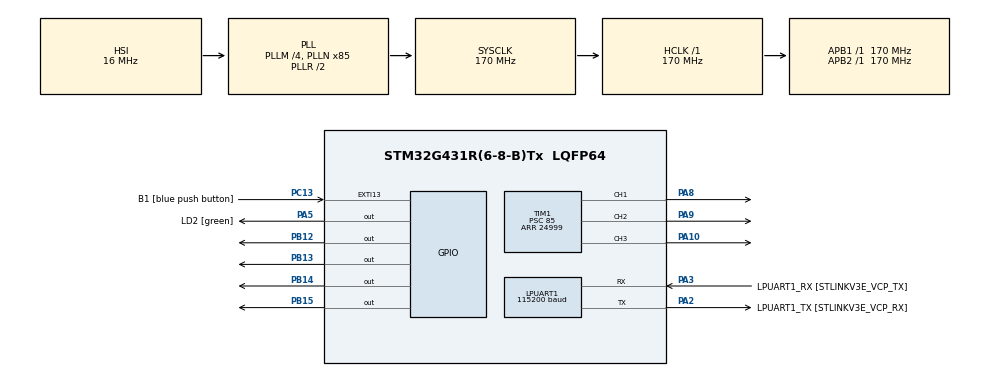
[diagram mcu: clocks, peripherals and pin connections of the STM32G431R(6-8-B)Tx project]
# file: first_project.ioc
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LPUART1.BaudRate=115200
LPUART1.WordLength=UART_WORDLENGTH_8B
Mcu.Family=STM32G4
Mcu.Name=STM32G431R(6-8-B)Tx
Mcu.Package=LQFP64
NVIC.PriorityGroup=NVIC_PRIORITYGROUP_4
PA10.Signal=S_TIM1_CH3
PA13.GPIO_Label=T_SWDIO
PA13.Mode=Serial_Wire
PA13.Signal=SYS_JTMS-SWDIO
PA14.GPIO_Label=T_SWCLK
PA14.Mode=Serial_Wire
PA14.Signal=SYS_JTCK-SWCLK
PA2.GPIO_Label=LPUART1_TX [STLINKV3E_VCP_RX]
PA2.Mode=Asynchronous
PA2.Signal=LPUART1_TX
PA3.GPIO_Label=LPUART1_RX [STLINKV3E_VCP_TX]
PA3.Mode=Asynchronous
PA3.Signal=LPUART1_RX
PA5.GPIO_Label=LD2 [green]
PA5.Signal=GPIO_Output
PA8.Signal=S_TIM1_CH1
PA9.Signal=S_TIM1_CH2
PB12.Signal=GPIO_Output
PB13.Signal=GPIO_Output
PB14.Signal=GPIO_Output
PB15.Signal=GPIO_Output
PB3.GPIO_Label=T_SWO
PB3.Signal=SYS_JTDO-SWO
PC13.GPIO_Label=B1 [blue push button]
PC13.Signal=GPXTI13
PC14-OSC32_IN.Mode=LSE-External-Oscillator
PC14-OSC32_IN.Signal=RCC_OSC32_IN
PC15-OSC32_OUT.Mode=LSE-External-Oscillator
PC15-OSC32_OUT.Signal=RCC_OSC32_OUT
PF0-OSC_IN.Mode=HSE-External-Oscillator
PF0-OSC_IN.Signal=RCC_OSC_IN
PF1-OSC_OUT.Mode=HSE-External-Oscillator
PF1-OSC_OUT.Signal=RCC_OSC_OUT
ProjectManager.HeapSize=0x200
ProjectManager.StackSize=0x400
ProjectManager.TargetToolchain=STM32CubeIDE
RCC.ADC12Freq_Value=170000000
RCC.AHBFreq_Value=170000000
RCC.APB1Freq_Value=170000000
RCC.APB1TimFreq_Value=170000000
RCC.APB2Freq_Value=170000000
RCC.APB2TimFreq_Value=170000000
RCC.CortexFreq_Value=170000000
RCC.EXTERNAL_CLOCK_VALUE=12288000
RCC.HCLKFreq_Value=170000000
RCC.HSE_VALUE=24000000
RCC.HSI48_VALUE=48000000
RCC.HSI_VALUE=16000000
RCC.PLLM=RCC_PLLM_DIV4
RCC.PLLN=85
RCC.RTCClockSelection=RCC_RTCCLKSOURCE_LSE
RCC.SYSCLKFreq_VALUE=170000000
RCC.SYSCLKSource=RCC_SYSCLKSOURCE_PLLCLK
RCC.USBFreq_Value=170000000
RCC.VCOOutputFreq_Value=340000000
SH.S_TIM1_CH1.0=TIM1_CH1,PWM Generation1 CH1
SH.S_TIM1_CH2.0=TIM1_CH2,PWM Generation2 CH2
SH.S_TIM1_CH3.0=TIM1_CH3,PWM Generation3 CH3
TIM1.Channel-PWM\ Generation1\ CH1=TIM_CHANNEL_1
TIM1.Channel-PWM\ Generation2\ CH2=TIM_CHANNEL_2
TIM1.Channel-PWM\ Generation3\ CH3=TIM_CHANNEL_3
TIM1.PeriodNoDither=24999
TIM1.Prescaler=85
VP_SYS_VS_DBSignals.Mode=DisableDeadBatterySignals
VP_TIM1_VS_ClockSourceINT.Mode=Internal
board=NUCLEO-G431RB

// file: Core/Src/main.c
/* USER CODE BEGIN Header */
/**
 ******************************************************************************
 * @file           : main.c
 * @brief          : Main program body
 ******************************************************************************
 * @attention
 *
 * Copyright (c) 2023 STMicroelectronics.
 * All rights reserved.
 *
 * This software is licensed under terms that can be found in the LICENSE file
 * in the root directory of this software component.
 * If no LICENSE file comes with this software, it is provided AS-IS.
 *
 ******************************************************************************
 */
/* USER CODE END Header */
#include "main.h"
#include "usart.h"
#include "tim.h"
#include "gpio.h"

/* USER CODE BEGIN Includes */
#include "stm32g4xx_hal.h"
#include "math.h"

/* USER CODE END Includes */

/* USER CODE BEGIN PM */
#define DESIRED_FREQ 10.0   // Fréquence de rotation souhaitée du moteur en Hz
#define SAMPLE_RATE 100000   // Fréquence d'échantillonnage
/* USER CODE END PM */

/* USER CODE BEGIN PV */
float phase = 0.0;
float phase_increment = 2 * M_PI * DESIRED_FREQ / SAMPLE_RATE;
/* USER CODE END PV */

void SystemClock_Config(void);

int main(void)
{

	/* MCU Configuration--------------------------------------------------------*/

	/* Reset of all peripherals, Initializes the Flash interface and the Systick. */
	HAL_Init();

	/* Configure the system clock */
	SystemClock_Config();

	/* Initialize all configured peripherals */
	MX_GPIO_Init();
	MX_LPUART1_UART_Init();
	MX_TIM1_Init();
	/* USER CODE BEGIN 2 */
	// Start PWM
	HAL_GPIO_WritePin(GPIOB, GPIO_PIN_13, 1); // U
	HAL_GPIO_WritePin(GPIOB, GPIO_PIN_14, 1); // V
	HAL_GPIO_WritePin(GPIOB, GPIO_PIN_15, 1); // W
	HAL_GPIO_WritePin(GPIOB, GPIO_PIN_12, 1); // EN_FAULT
	HAL_TIM_PWM_Start(&htim1, TIM_CHANNEL_1);
	HAL_TIM_PWM_Start(&htim1, TIM_CHANNEL_2);
	HAL_TIM_PWM_Start(&htim1, TIM_CHANNEL_3);
	// Configure GPIO pins for PWM signals

	/* USER CODE END 2 */

	/* Infinite loop */
	while (1)
	{

		/* USER CODE BEGIN 3 */
		// Update PWM

		uint16_t pwm_value1 = (uint16_t)((sin(phase) + 1.0) * 32767.5); // Canal 1
		uint16_t pwm_value2 = (uint16_t)((sin(phase - (2 * M_PI / 3)) + 1.0) * 32767.5); // Canal 2
		uint16_t pwm_value3 = (uint16_t)((sin(phase + (2 * M_PI / 3)) + 1.0) * 32767.5); // Canal 3
		__HAL_TIM_SET_COMPARE(&htim1, TIM_CHANNEL_1, pwm_value1);
		__HAL_TIM_SET_COMPARE(&htim1, TIM_CHANNEL_2, pwm_value2);
		__HAL_TIM_SET_COMPARE(&htim1, TIM_CHANNEL_3, pwm_value3);

		phase += phase_increment;
		if (phase >= (2 * M_PI))
		{
			phase -= (2 * M_PI);
		}

	}
	/* USER CODE END 3 */
}

void SystemClock_Config(void)
{
	RCC_OscInitTypeDef RCC_OscInitStruct = {0};
	RCC_ClkInitTypeDef RCC_ClkInitStruct = {0};

	/** Configure the main internal regulator output voltage
	 */
	HAL_PWREx_ControlVoltageScaling(PWR_REGULATOR_VOLTAGE_SCALE1_BOOST);

	/** Initializes the RCC Oscillators according to the specified parameters
	 * in the RCC_OscInitTypeDef structure.
	 */
	RCC_OscInitStruct.OscillatorType = RCC_OSCILLATORTYPE_HSI;
	RCC_OscInitStruct.HSIState = RCC_HSI_ON;
	RCC_OscInitStruct.HSICalibrationValue = RCC_HSICALIBRATION_DEFAULT;
	RCC_OscInitStruct.PLL.PLLState = RCC_PLL_ON;
	RCC_OscInitStruct.PLL.PLLSource = RCC_PLLSOURCE_HSI;
	RCC_OscInitStruct.PLL.PLLM = RCC_PLLM_DIV4;
	RCC_OscInitStruct.PLL.PLLN = 85;
	RCC_OscInitStruct.PLL.PLLP = RCC_PLLP_DIV2;
	RCC_OscInitStruct.PLL.PLLQ = RCC_PLLQ_DIV2;
	RCC_OscInitStruct.PLL.PLLR = RCC_PLLR_DIV2;
	if (HAL_RCC_OscConfig(&RCC_OscInitStruct) != HAL_OK)
	{
		Error_Handler();
	}

	/** Initializes the CPU, AHB and APB buses clocks
	 */
	RCC_ClkInitStruct.ClockType = RCC_CLOCKTYPE_HCLK|RCC_CLOCKTYPE_SYSCLK
			|RCC_CLOCKTYPE_PCLK1|RCC_CLOCKTYPE_PCLK2;
	RCC_ClkInitStruct.SYSCLKSource = RCC_SYSCLKSOURCE_PLLCLK;
	RCC_ClkInitStruct.AHBCLKDivider = RCC_SYSCLK_DIV1;
	RCC_ClkInitStruct.APB1CLKDivider = RCC_HCLK_DIV1;
	RCC_ClkInitStruct.APB2CLKDivider = RCC_HCLK_DIV1;

	if (HAL_RCC_ClockConfig(&RCC_ClkInitStruct, FLASH_LATENCY_4) != HAL_OK)
	{
		Error_Handler();
	}
}

/* USER CODE BEGIN 4 */
// Fonction de configuration du timer PWM
void PWM_Init(void) {
	TIM_HandleTypeDef htim1;

	// Configuration du timer en mode PWM
	htim1.Instance = TIM1;
	htim1.Init.Prescaler = 85; // 170 MHz / 85 = 2 MHz (Période PWM de 0.5 us)
	htim1.Init.Period = 24999; // 2 MHz / 25000 = 80 Hz (Fréquence PWM)
	htim1.Init.ClockDivision = TIM_CLOCKDIVISION_DIV1;
	htim1.Init.CounterMode = TIM_COUNTERMODE_UP;
	HAL_TIM_PWM_Init(&htim1);

	// Configuration des canaux PWM
	TIM_OC_InitTypeDef sConfig;
	sConfig.OCMode = TIM_OCMODE_PWM1;
	sConfig.OCPolarity = TIM_OCPOLARITY_HIGH;
	sConfig.OCFastMode = TIM_OCFAST_DISABLE;

	for (int i = 1; i <= 3; i++) {
		sConfig.Pulse = 0;
		HAL_TIM_PWM_ConfigChannel(&htim1, &sConfig, i);
	}

	// Activation des sorties PWM
	HAL_TIM_PWM_Start(&htim1, TIM_CHANNEL_1);
	HAL_TIM_PWM_Start(&htim1, TIM_CHANNEL_2);
	HAL_TIM_PWM_Start(&htim1, TIM_CHANNEL_3);
}
/* USER CODE END 4 */

void Error_Handler(void)
{
	__disable_irq();
	while (1)
	{
	}
}
